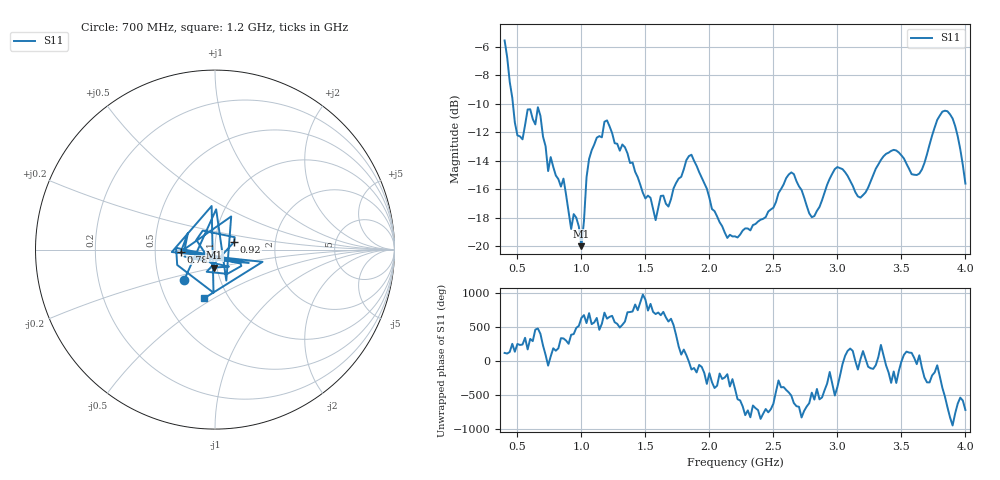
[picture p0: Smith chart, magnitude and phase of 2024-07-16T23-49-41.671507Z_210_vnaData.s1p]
!Created with skrf (http://scikit-rf.org).
# Hz S RI R 50.0
!freq ReS11 ImS11
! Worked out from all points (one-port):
!   181 points, 400 MHz to 4 GHz, reference 50 ohm
!   lowest |S11| = -20.0 dB at 1 GHz (marker M1), VSWR 1.22, Z = 48.7 - j9.83 ohm
!   |S11| at or under -10 dB: 464.9 MHz to end of sweep
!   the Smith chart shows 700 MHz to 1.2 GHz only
!   S11 on the Smith chart (normalised r, x): 700 MHz: 0.67, -0.24; 780 MHz: 0.68, -0.02; 920 MHz: 1.23, +0.11; 1.2 GHz: 0.77, -0.45
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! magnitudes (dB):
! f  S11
! 400 MHz  -5.6
! 500 MHz  -12.2
! 660 MHz  -10.2
! 700 MHz  -12.3
! 740 MHz  -14.7
! 780 MHz  -14.4
! 860 MHz  -15.3
! 920 MHz  -18.8
! 960 MHz  -18.0
! 1 GHz  -20.0
! 1.06 GHz  -13.9
! 1.2 GHz  -11.2
! 1.3 GHz  -13.3
! 1.58 GHz  -18.2
! 1.76 GHz  -15.3
! 1.86 GHz  -13.6
! 2.2 GHz  -19.3
! 2.66 GHz  -14.9
! 2.8 GHz  -18.0
! 2.98 GHz  -14.6
! 3.1 GHz  -15.4
! 3.18 GHz  -16.6
! 3.44 GHz  -13.2
! 3.56 GHz  -14.6
! 3.64 GHz  -14.9
! 3.86 GHz  -10.5
! 3.94 GHz  -12.3
! 4 GHz  -15.6
